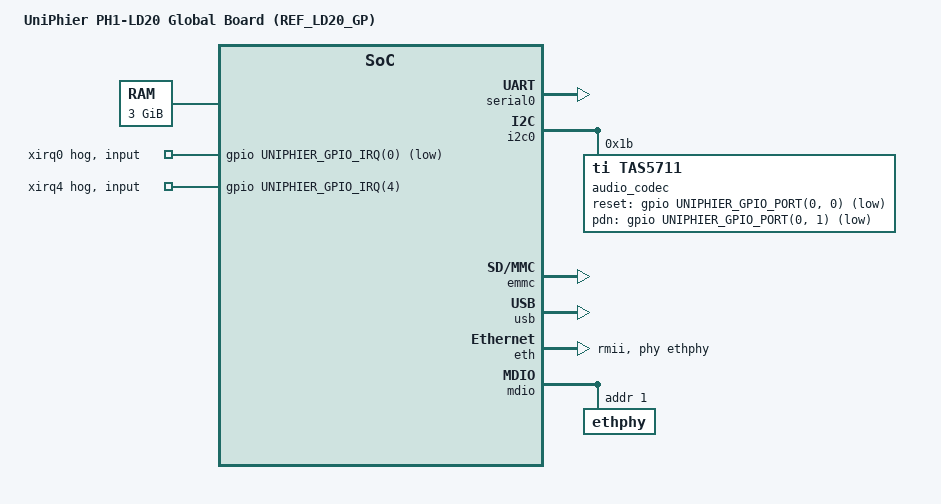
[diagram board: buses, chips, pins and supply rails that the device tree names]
// SPDX-License-Identifier: GPL-2.0+ OR MIT
//
// Device Tree Source for UniPhier PH1-LD20 Global Board
//
// Copyright (C) 2015-2017 Socionext Inc.
//   Author: Masahiro Yamada <yamada.masahiro@socionext.com>
//           Kunihiko Hayashi <hayashi.kunihiko@socionext.com>

/dts-v1/;
#include "uniphier-ph1-ld20.dtsi"
#include "uniphier-support-card.dtsi"

/ {
	model = "UniPhier PH1-LD20 Global Board (REF_LD20_GP)";
	compatible = "socionext,ph1-ld20-global", "socionext,ph1-ld20";

	chosen {
		stdout-path = "serial0:115200n8";
		bootargs = "earlycon";
	};

	aliases {
		serial0 = &serial0;
		serial1 = &serial1;
		serial2 = &serialsc;
		serial3 = &serial3;
		i2c0 = &i2c0;
		i2c1 = &i2c1;
		i2c2 = &i2c2;
		i2c3 = &i2c3;
		i2c4 = &i2c4;
		i2c5 = &i2c5;
		ethernet0 = &eth;
		ethernet1 = &ethsc;
	};

	memory {
		device_type = "memory";
		reg = <0 0x80000000 0 0xc0000000>;
	};
};

&ethsc {
	interrupts = <4 8>;
};

&serialsc {
	interrupts = <4 8>;
};

&serial0 {
	status = "okay";
};

&gpio {
	xirq0 {
		gpio-hog;
		gpios = <UNIPHIER_GPIO_IRQ(0) 1>;
		input;
	};

	xirq4 {
		gpio-hog;
		gpios = <UNIPHIER_GPIO_IRQ(4) 0>;
		input;
	};
};

&i2c0 {
	status = "okay";

	audio_codec: tas5707@1b {
		compatible = "ti,tas5711";
		reg = <0x1b>;
		mclk = <384>;
		reset-gpios = <&gpio UNIPHIER_GPIO_PORT(0, 0) GPIO_ACTIVE_LOW>;
		pdn-gpios = <&gpio UNIPHIER_GPIO_PORT(0, 1) GPIO_ACTIVE_LOW>;
		#sound-dai-cells = <0>;
	};
};

&sound_codec_sp {
	sound-dai = <&audio_codec>;
};

&emmc {
	status = "okay";
};

&usb {
	status = "okay";
};

&eth {
	status = "okay";
	phy-mode = "rmii";
	pinctrl-0 = <&pinctrl_ether_rmii>;
	phy-handle = <&ethphy>;
};

&mdio {
	ethphy: ethphy@1 {
		reg = <1>;
	};
};

&pinctrl_ether_rgmii {
	tx {
		pins = "RGMII_TXD0", "RGMII_TXD1", "RGMII_TXD2",
		       "RGMII_TXD3", "RGMII_TXCTL";
		drive-strength = <12>;
	};

	txclk {
		pins = "RGMII_TXCLK";
		drive-strength = <9>;
	};
};
